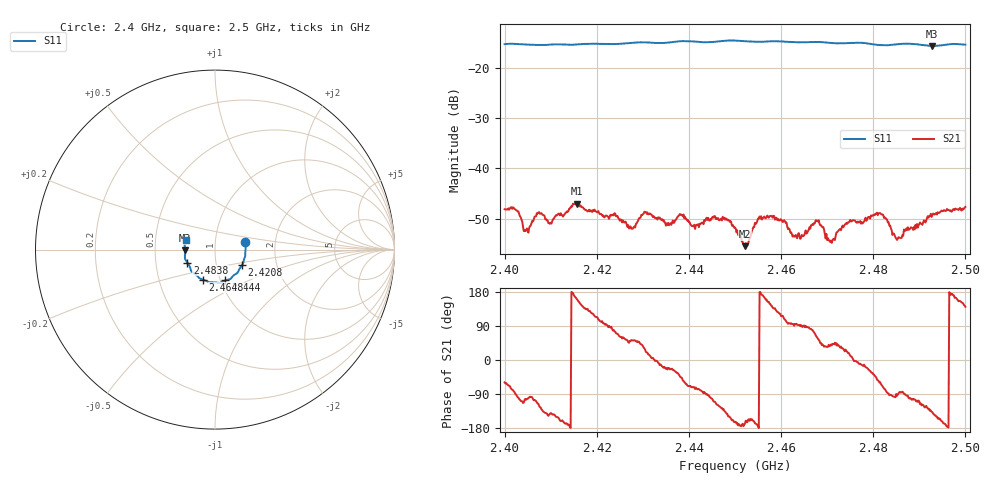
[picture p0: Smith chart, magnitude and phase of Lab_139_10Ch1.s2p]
# Hz S RI R 50
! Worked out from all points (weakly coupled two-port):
!   601 points, 2.4 GHz to 2.5 GHz, reference 50 ohm
!   highest |S21| = -46.99 dB at 2.4157 GHz (marker M1); lowest = -55.5 dB at 2.4522 GHz (marker M2)
!   lowest |S11| = -15.6 dB at 2.4928 GHz (marker M3), VSWR 1.40, Z = 35.8 - j0.346 ohm
!   |S11| at or under -10 dB: start of sweep to end of sweep
!   S12 and S22 are empty: the file has one direction only
!   S11 on the Smith chart (normalised r, x): 2.4 GHz: 1.40, +0.12; 2.4208 GHz: 1.33, -0.24; 2.444 GHz: 1.06, -0.37; 2.4648 GHz: 0.83, -0.29; 2.4838 GHz: 0.73, -0.11; 2.5 GHz: 0.72, +0.08
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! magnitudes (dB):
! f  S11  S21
! 2.4 GHz  -15.3  -48.1
! 2.4047 GHz  -15.3  -52.3
! 2.4075 GHz  -15.4  -48.7
! 2.41 GHz  -15.3  -50.8
! 2.4157 GHz  -15.3  -47.0
! 2.4167 GHz  -15.2  -47.7
! 2.4208 GHz  -15.2  -49.0
! 2.4275 GHz  -15.0  -52.0
! 2.4333 GHz  -15.0  -49.7
! 2.444 GHz  -14.9  -50.2
! 2.45 GHz  -14.5  -51.7
! 2.4522 GHz  -14.7  -55.5
! 2.4573 GHz  -14.7  -49.8
! 2.4648 GHz  -14.9  -53.5
! 2.4667 GHz  -14.8  -51.3
! 2.4708 GHz  -15.0  -54.3
! 2.4753 GHz  -15.0  -50.5
! 2.4833 GHz  -15.4  -50.7
! 2.4838 GHz  -15.4  -51.9
! 2.4857 GHz  -15.2  -53.8
! 2.4928 GHz  -15.6  -49.3
! 2.5 GHz  -15.4  -47.6
